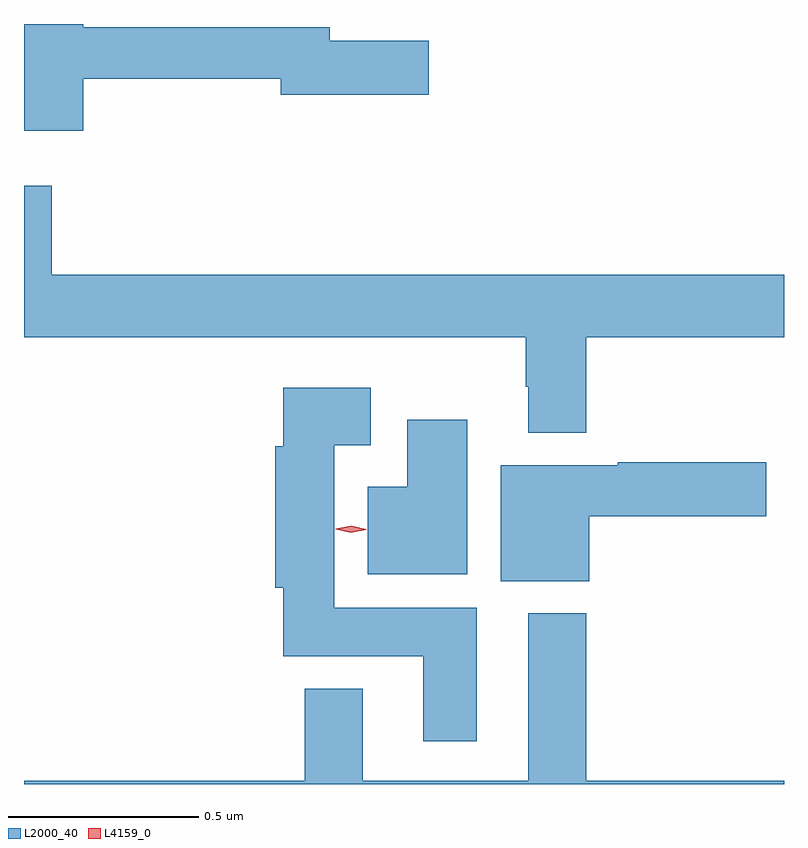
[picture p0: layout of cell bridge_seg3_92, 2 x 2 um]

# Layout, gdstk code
import gdstk
lib = gdstk.Library(unit=1e-6, precision=1e-09)
def P(c, l, *ps):  # polygons
    for p in ps: c.add(gdstk.Polygon(p, *l))
L2000_40 = (2000, 40)
L4159_0 = (4159, 0)

bridge_seg3_92 = lib.new_cell('bridge_seg3_92')
P(bridge_seg3_92, L2000_40, [(412.798,721.576),(413.318,721.576),(413.318,721.534),(413.707,721.534),(413.707,721.676),(413.446,721.676),(413.446,721.712),(412.798,721.712),(412.798,721.72),(412.642,721.72),(412.642,721.439),(412.798,721.439)],
  [(414.122,720.896),(414.642,720.896),(414.642,721.06),(412.715,721.06),(412.715,721.294),(412.642,721.294),(412.642,720.896),(413.962,720.896),(413.962,720.766),(413.969,720.766),(413.969,720.644),(414.122,720.644)],
  [(413.833,720.184),(413.458,720.184),(413.458,720.611),(413.554,720.611),(413.554,720.763),(413.324,720.763),(413.324,720.609),(413.303,720.609),(413.303,720.237),(413.324,720.237),(413.324,720.056),(413.693,720.056),(413.693,719.832),(413.833,719.832)],
  [(413.809,720.679),(413.651,720.679),(413.651,720.502),(413.546,720.502),(413.546,720.272),(413.809,720.272)],
  [(414.13,720.425),(414.595,720.425),(414.595,720.567),(414.205,720.567),(414.205,720.559),(413.897,720.559),(413.897,720.254),(414.13,720.254)],
  [(414.642,719.728),(414.122,719.728),(414.122,720.169),(413.969,720.169),(413.969,719.728),(413.533,719.728),(413.533,719.971),(413.381,719.971),(413.381,719.728),(412.642,719.728),(412.642,719.72),(414.642,719.72)])
P(bridge_seg3_92, L4159_0, [(413.502,720.381),(413.463,720.391),(413.463,720.392),(413.463,720.392),(413.503,720.4),(413.542,720.39),(413.542,720.39),(413.542,720.389)])

lib.write_gds('bridge_seg3_92.gds')
